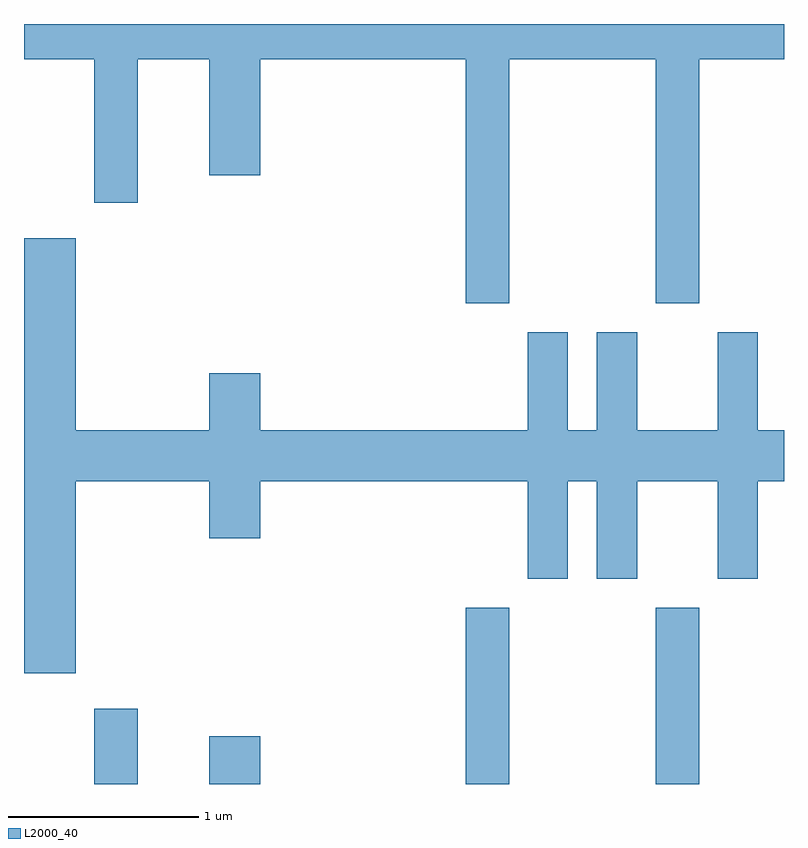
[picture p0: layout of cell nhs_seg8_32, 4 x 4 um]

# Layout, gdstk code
import gdstk
lib = gdstk.Library(unit=1e-6, precision=1e-09)
def R(c, l, rs):  # rectangles x0, y0, x1, y1
    for r in rs: c.add(gdstk.rectangle(r[:2], r[2:], *l))
def P(c, l, *ps):  # polygons
    for p in ps: c.add(gdstk.Polygon(p, *l))
L2000_40 = (2000, 40)

nhs_seg8_32 = lib.new_cell('nhs_seg8_32')
R(nhs_seg8_32, L2000_40, [(185.981,1870.342,186.209,1870.739), (186.586,1870.342,186.854,1870.594), (187.936,1870.342,188.164,1871.269), (188.936,1870.342,189.164,1871.269)])
P(nhs_seg8_32, L2000_40, [(188.164,1874.156),(188.936,1874.156),(188.936,1872.871),(189.164,1872.871),(189.164,1874.156),(189.611,1874.156),(189.611,1874.342),(185.611,1874.342),(185.611,1874.156),(185.981,1874.156),(185.981,1873.401),(186.209,1873.401),(186.209,1874.156),(186.586,1874.156),(186.586,1873.546),(186.854,1873.546),(186.854,1874.156),(187.936,1874.156),(187.936,1872.871),(188.164,1872.871)],
  [(185.884,1871.936),(186.586,1871.936),(186.586,1871.636),(186.854,1871.636),(186.854,1871.936),(188.261,1871.936),(188.261,1871.421),(188.474,1871.421),(188.474,1871.936),(188.626,1871.936),(188.626,1871.421),(188.839,1871.421),(188.839,1871.936),(189.261,1871.936),(189.261,1871.421),(189.474,1871.421),(189.474,1871.936),(189.611,1871.936),(189.611,1872.204),(189.474,1872.204),(189.474,1872.719),(189.261,1872.719),(189.261,1872.204),(188.839,1872.204),(188.839,1872.719),(188.626,1872.719),(188.626,1872.204),(188.474,1872.204),(188.474,1872.719),(188.261,1872.719),(188.261,1872.204),(186.854,1872.204),(186.854,1872.504),(186.586,1872.504),(186.586,1872.204),(185.884,1872.204),(185.884,1873.214),(185.611,1873.214),(185.611,1870.926),(185.884,1870.926)])

lib.write_gds('nhs_seg8_32.gds')
